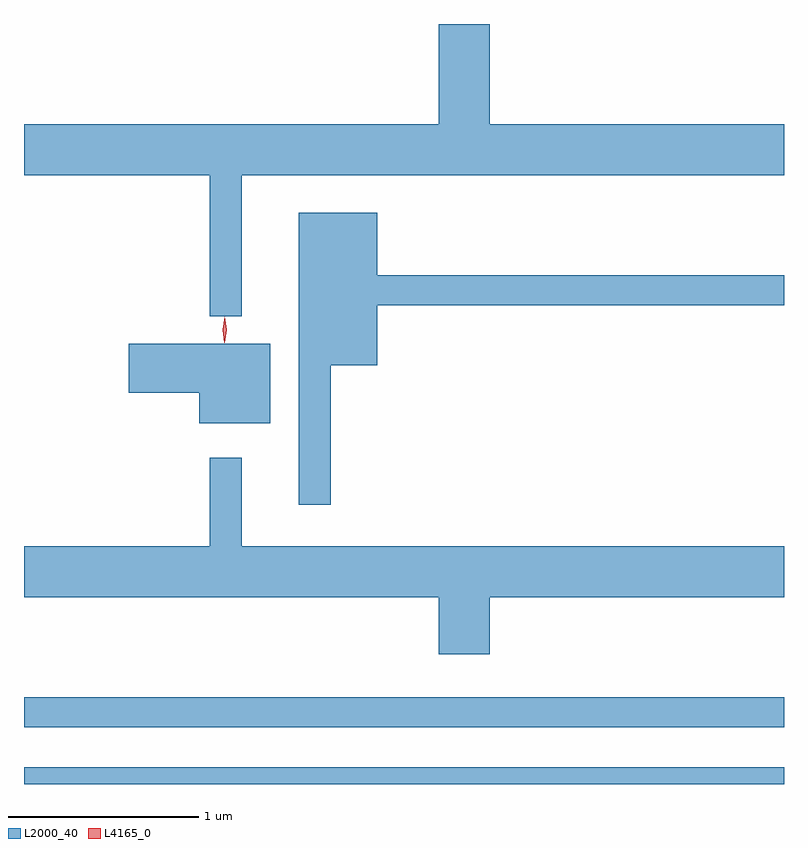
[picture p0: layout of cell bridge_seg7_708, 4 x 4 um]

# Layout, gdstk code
import gdstk
lib = gdstk.Library(unit=1e-6, precision=1e-09)
def R(c, l, rs):  # rectangles x0, y0, x1, y1
    for r in rs: c.add(gdstk.rectangle(r[:2], r[2:], *l))
def P(c, l, *ps):  # polygons
    for p in ps: c.add(gdstk.Polygon(p, *l))
L2000_40 = (2000, 40)
L4165_0 = (4165, 0)

bridge_seg7_708 = lib.new_cell('bridge_seg7_708')
R(bridge_seg7_708, L2000_40, [(552.554,1755.512,556.554,1755.599), (552.554,1755.811,556.554,1755.969)])
P(bridge_seg7_708, L2000_40, [(553.699,1758.716),(556.554,1758.716),(556.554,1758.984),(555.004,1758.984),(555.004,1759.512),(554.736,1759.512),(554.736,1758.984),(552.554,1758.984),(552.554,1758.716),(553.531,1758.716),(553.531,1757.973),(553.699,1757.973)],
  [(554.169,1757.716),(554.414,1757.716),(554.414,1758.031),(556.554,1758.031),(556.554,1758.189),(554.414,1758.189),(554.414,1758.519),(554.001,1758.519),(554.001,1756.983),(554.169,1756.983)],
  [(553.849,1757.829),(553.106,1757.829),(553.106,1757.571),(553.476,1757.571),(553.476,1757.411),(553.849,1757.411)],
  [(555.004,1756.496),(556.554,1756.496),(556.554,1756.764),(553.699,1756.764),(553.699,1757.228),(553.531,1757.228),(553.531,1756.764),(552.554,1756.764),(552.554,1756.496),(554.736,1756.496),(554.736,1756.196),(555.004,1756.196)])
P(bridge_seg7_708, L4165_0, [(553.611,1757.84),(553.61,1757.841),(553.601,1757.904),(553.61,1757.966),(553.611,1757.967),(553.611,1757.966),(553.621,1757.904),(553.611,1757.841)],
  [(553.609,1757.834),(553.609,1757.834),(553.6,1757.902),(553.61,1757.97),(553.611,1757.97),(553.611,1757.97),(553.62,1757.902),(553.61,1757.834)])

lib.write_gds('bridge_seg7_708.gds')
